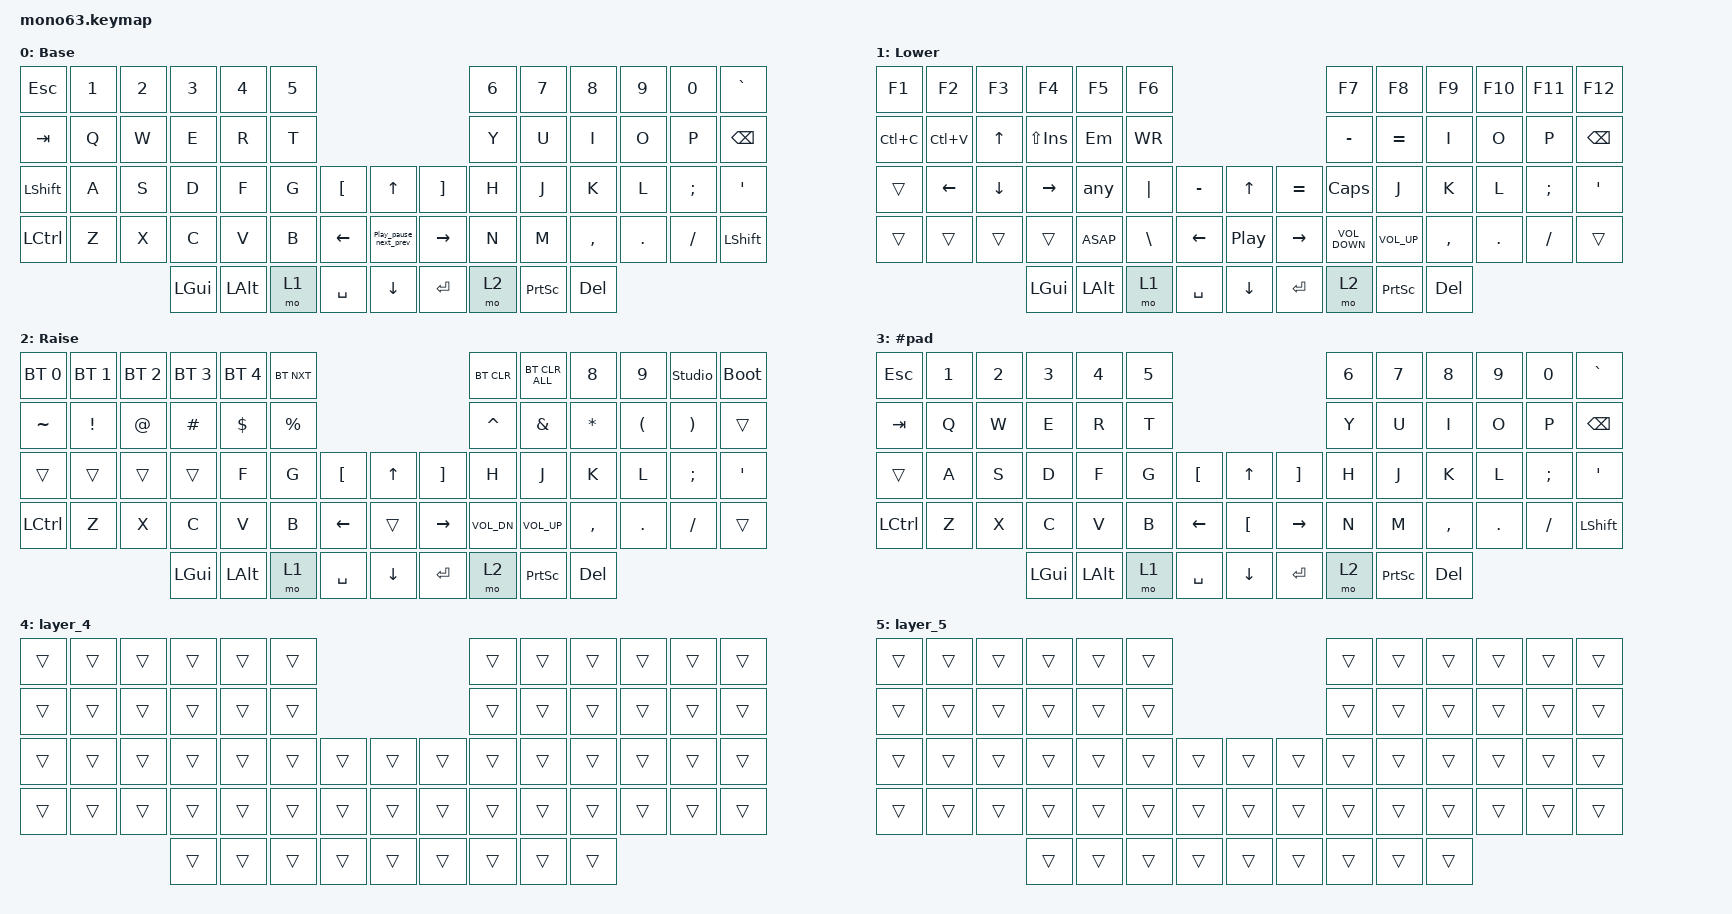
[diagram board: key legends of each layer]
/*
 * Copyright (c) 2020 The ZMK Contributors
 *
 * SPDX-License-Identifier: MIT
 */

#include <behaviors.dtsi>
#include <dt-bindings/zmk/bt.h>
#include <dt-bindings/zmk/keys.h>

#define DEFAULT 0
#define LOWER   1
#define RAISE   2
#define NUMPAD  3

/ {
    behaviors {
        Play_pause_next_prev: Play_pause_next_prev {
            compatible = "zmk,behavior-tap-dance";
            label = "PLAY_PAUSE_NEXT_PREV";
            #binding-cells = <0>;
            bindings = <&kp C_PLAY_PAUSE>, <&kp C_NEXT>, <&kp C_PREV>;
        };

        LS_test: LS_test {
            compatible = "zmk,behavior-tap-dance";
            label = "LS_TEST";
            #binding-cells = <0>;
            bindings = <&mt LEFT_SHIFT CAPS>;
            tapping-term-ms = <100>;
        };
    };

    macros {
        WL: new_macro1 {
            compatible = "zmk,behavior-macro";
            #binding-cells = <0>;
            bindings = <&kp LG(LC(LEFT_ARROW))>;
            label = "NEW_MACRO1";
        };

        WR: WR {
            compatible = "zmk,behavior-macro";
            #binding-cells = <0>;
            bindings = <&kp LS(W) &kp LS(A) &kp LS(R) &kp LS(R) &kp LS(A) &kp LS(N) &kp LS(T) &kp LS(Y) &kp SPACE &kp MINUS &kp SPACE>;
            label = "WR";
        };

        any: any {
            compatible = "zmk,behavior-macro";
            #binding-cells = <0>;
            bindings = <&kp LS(A) &kp LS(N) &kp LS(Y) &kp LS(O) &kp LS(N) &kp LS(E) &kp SPACE &kp MINUS &kp SPACE>;
            label = "ANY";
        };

        ASAP: ASAP {
            compatible = "zmk,behavior-macro";
            #binding-cells = <0>;
            bindings = <&kp LS(A) &kp LS(S) &kp LS(A) &kp LS(P) &kp SPACE &kp MINUS &kp SPACE>;
            label = "ASAP";
        };

        Em: Em {
            compatible = "zmk,behavior-macro";
            #binding-cells = <0>;
            bindings = <&none &kp SPACE &kp MINUS &kp SPACE &kp LS(A) &kp LS(F) &kp LS(T) &kp LS(E) &kp LS(R) &kp SPACE &kp LS(H) &kp LS(O) &kp LS(U) &kp LS(R) &kp LS(S) &kp SPACE &kp LS(E) &kp LS(M) &kp LS(E) &kp LS(R) &kp LS(G) &kp LS(E) &kp LS(N) &kp LS(C) &kp LS(Y) &kp SPACE &kp MINUS>;
            label = "EM";
        };
    };

    keymap {
        compatible = "zmk,keymap";

        default_layer {
            label = "Base";

            // ------------------------------------------------------------------------------------------------------------
            // |  ESC   |  1  |  2  |  3   |  4   |  5   |                        |  6   |  7    |  8    |  9   |   0   |   `   |
            // |  TAB   |  Q  |  W  |  E   |  R   |  T   |                        |  Y   |  U    |  I    |  O   |   P   | BSPC  |
            // |  LSHFT |  A  |  S  |  D   |  F   |  G   | "["  |  UP   |  "]"    |  H   |  J    |  K    |  L   |   ;   |   '   |
            // |  CTRL  |  Z  |  X  |  C   |  V   |  B   | LEFT |  PP   | RGHT    |  N   |  M    |  ,    |  .   |   /   | LSHFT |
            //                    | GUI  | ALT  | LOWER|  SPACE | DOWN  | ENT | RAISE| PSCRN |  DEL   |

            bindings = <
&kp ESC         &kp N1  &kp N2  &kp N3    &kp N4    &kp N5                                               &kp N6  &kp N7     &kp N8     &kp N9   &kp N0    &kp GRAVE
&kp TAB         &kp Q   &kp W   &kp E     &kp R     &kp T                                                &kp Y   &kp U      &kp I      &kp O    &kp P     &kp BSPC
&kp LEFT_SHIFT  &kp A   &kp S   &kp D     &kp F     &kp G   &kp LBKT   &kp UP                 &kp RBKT   &kp H   &kp J      &kp K      &kp L    &kp SEMI  &kp SQT
&kp LCTRL       &kp Z   &kp X   &kp C     &kp V     &kp B   &kp LEFT   &Play_pause_next_prev  &kp RIGHT  &kp N   &kp M      &kp COMMA  &kp DOT  &kp FSLH  &kp LSHFT
                                &kp LGUI  &kp LALT  &mo 1   &kp SPACE  &kp DOWN               &kp ENTER  &mo 2   &kp PSCRN  &kp DEL
            >;
        };

        lower_layer {
            label = "Lower";

            // ------------------------------------------------------------------------------------------------------------
            // |  F1   |  F2  |  F3  |  F4   |  F5   |  F6   |                    |  F7   |  F8    |  F9    |  D10   |   F11   |   F12   |
            // |  TAB   |  Q  |  W  |  E   |  R   |  T   |                        |  Y   |  U    |  I    |  O   |   P   | BSPC  |
            // |  LSHFT |  A  |  S  |  D   |  F   |  G   | "["  |  UP   |  "]"    |  H   |  J    |  K    |  L   |   ;   |   '   |
            // |  CTRL  |  Z  |  X  |  C   |  V   |  B   | LEFT |  PP   | RGHT   |  N   |  M    |  ,    |  .   |   /   | LSHFT |
            //                   | GUI  | ALT  | LOWER|  SPACE | DOWN  | ENT | RAISE| PSCRN |  DEL   |

            bindings = <
&kp F1     &kp F2     &kp F3    &kp F4       &kp F5    &kp F6                                                 &kp F7             &kp F8           &kp F9     &kp F10  &kp F11   &kp F12
&kp LC(C)  &kp LC(V)  &kp UP    &kp LS(INS)  &Em       &WR                                                    &kp MINUS          &kp EQUAL        &kp I      &kp O    &kp P     &kp BSPC
&trans     &kp LEFT   &kp DOWN  &kp RIGHT    &any      &kp PIPE       &kp MINUS  &kp UP            &kp EQUAL  &kp CAPSLOCK       &kp J            &kp K      &kp L    &kp SEMI  &kp SQT
&trans     &trans     &trans    &trans       &ASAP     &kp BACKSLASH  &kp LEFT   &kp C_PLAY_PAUSE  &kp RIGHT  &kp C_VOLUME_DOWN  &kp C_VOLUME_UP  &kp COMMA  &kp DOT  &kp FSLH  &trans
                                &kp LGUI     &kp LALT  &mo 1          &kp SPACE  &kp DOWN          &kp ENTER  &mo 2              &kp PSCRN        &kp DEL
            >;
        };

        raise_layer {
            label = "Raise";

            // ------------------------------------------------------------------------------------------------------------
            // |  ESC   |  1  |  2  |  3   |  4   |  5   |                        |  6   |  7    |  8    |  9   |   0   |   `   |
            // |  TAB   |  Q  |  W  |  E   |  R   |  T   |                        |  Y   |  U    |  I    |  O   |   P   |  BSPC |
            // |  LSHFT |  A  |  S  |  D   |  F   |  G   | "["  |  UP   |  "]"    |  H   |  J    |  K    |  L   |   ;   |   '   |
            // |  CTRL  |  Z  |  X  |  C   |  V   |  B   | LEFT |  PP   | RGHT   |  N   |  M    |  ,    |  .   |   /   | LSHFT |
            //                    | GUI  | ALT  | LOWER|  SPACE | DOWN  | ENT | RAISE| PSCRN |  DEL   |

            bindings = <
&bt BT_SEL 0  &bt BT_SEL 1     &bt BT_SEL 2  &bt BT_SEL 3  &bt BT_SEL 4  &bt BT_NXT                                   &bt BT_CLR    &bt BT_CLR_ALL  &kp N8        &kp N9                &studio_unlock         &bootloader
&kp TILDE     &kp EXCLAMATION  &kp AT_SIGN   &kp HASH      &kp DOLLAR    &kp PERCENT                                  &kp CARET     &kp AMPERSAND   &kp ASTERISK  &kp LEFT_PARENTHESIS  &kp RIGHT_PARENTHESIS  &trans
&trans        &trans           &trans        &trans        &kp F         &kp G        &kp LBKT   &kp UP    &kp RBKT   &kp H         &kp J           &kp K         &kp L                 &kp SEMI               &kp SQT
&kp LCTRL     &kp Z            &kp X         &kp C         &kp V         &kp B        &kp LEFT   &trans    &kp RIGHT  &kp C_VOL_DN  &kp C_VOL_UP    &kp COMMA     &kp DOT               &kp FSLH               &trans
                                             &kp LGUI      &kp LALT      &mo 1        &kp SPACE  &kp DOWN  &kp ENTER  &mo 2         &kp PSCRN       &kp DEL
            >;
        };

        adjust_layer {
            label = "#pad";

            // ------------------------------------------------------------------------------------------------------------
            // |  ESC   |  1  |  2  |  3   |  4   |  5   |                        |  6   |  7    |  8    |  9   |   0   |   `   |
            // |  TAB   |  Q  |  W  |  E   |  R   |  T   |                        |  Y   |  U    |  I    |  O   |   P   |  BSPC |
            // |  LSHFT |  A  |  S  |  D   |  F   |  G   | "["  |  UP   |  "]"    |  H   |  J    |  K    |  L   |   ;   |   '   |
            // |  CTRL  |  Z  |  X  |  C   |  V   |  B   | LEFT |  PP   | RGHT   |  N   |  M    |  ,    |  .   |   /   | LSHFT |
            //                    | GUI  | ALT  | LOWER|  SPACE | DOWN  | ENT | RAISE| PSCRN |  DEL   |

            bindings = <
&kp ESC    &kp N1  &kp N2  &kp N3    &kp N4    &kp N5                                  &kp N6  &kp N7     &kp N8     &kp N9   &kp N0    &kp GRAVE
&kp TAB    &kp Q   &kp W   &kp E     &kp R     &kp T                                   &kp Y   &kp U      &kp I      &kp O    &kp P     &kp BSPC
&trans     &kp A   &kp S   &kp D     &kp F     &kp G   &kp LBKT   &kp UP    &kp RBKT   &kp H   &kp J      &kp K      &kp L    &kp SEMI  &kp SQT
&kp LCTRL  &kp Z   &kp X   &kp C     &kp V     &kp B   &kp LEFT   &kp LBKT  &kp RIGHT  &kp N   &kp M      &kp COMMA  &kp DOT  &kp FSLH  &kp LSHFT
                           &kp LGUI  &kp LALT  &mo 1   &kp SPACE  &kp DOWN  &kp ENTER  &mo 2   &kp PSCRN  &kp DEL
            >;
        };

        layer_4 {
            bindings = <
&trans  &trans  &trans  &trans  &trans  &trans                          &trans  &trans  &trans  &trans  &trans  &trans
&trans  &trans  &trans  &trans  &trans  &trans                          &trans  &trans  &trans  &trans  &trans  &trans
&trans  &trans  &trans  &trans  &trans  &trans  &trans  &trans  &trans  &trans  &trans  &trans  &trans  &trans  &trans
&trans  &trans  &trans  &trans  &trans  &trans  &trans  &trans  &trans  &trans  &trans  &trans  &trans  &trans  &trans
                        &trans  &trans  &trans  &trans  &trans  &trans  &trans  &trans  &trans
            >;
        };

        layer_5 {
            bindings = <
&trans  &trans  &trans  &trans  &trans  &trans                          &trans  &trans  &trans  &trans  &trans  &trans
&trans  &trans  &trans  &trans  &trans  &trans                          &trans  &trans  &trans  &trans  &trans  &trans
&trans  &trans  &trans  &trans  &trans  &trans  &trans  &trans  &trans  &trans  &trans  &trans  &trans  &trans  &trans
&trans  &trans  &trans  &trans  &trans  &trans  &trans  &trans  &trans  &trans  &trans  &trans  &trans  &trans  &trans
                        &trans  &trans  &trans  &trans  &trans  &trans  &trans  &trans  &trans
            >;
        };
    };
};
